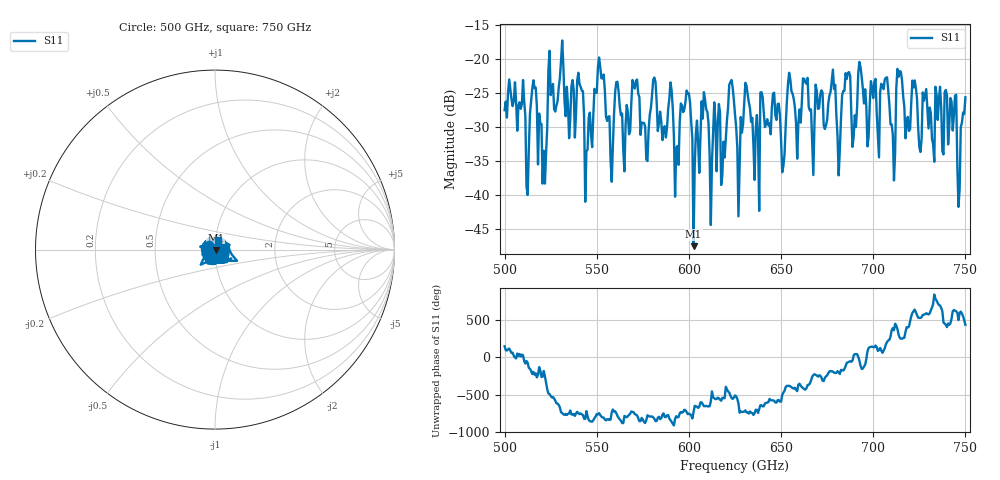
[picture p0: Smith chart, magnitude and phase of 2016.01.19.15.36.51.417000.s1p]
!Created with skrf (http://scikit-rf.org).
# GHz S RI R 50.0
!freq ReS11 ImS11
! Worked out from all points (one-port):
!   401 points, 500 GHz to 750 GHz, reference 50 ohm
!   lowest |S11| = -47.5 dB at 602.5 GHz (marker M1), VSWR 1.01, Z = 50.4 - j0.135 ohm
!   |S11| at or under -10 dB: start of sweep to end of sweep
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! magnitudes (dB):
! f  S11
! 500 GHz  -27.5
! 512.5 GHz  -40.0
! 516.2 GHz  -24.2
! 521.9 GHz  -38.3
! 525 GHz  -25.3
! 531.2 GHz  -17.2
! 541.2 GHz  -24.0
! 544.4 GHz  -33.5
! 551.9 GHz  -21.1
! 557.5 GHz  -34.9
! 562.5 GHz  -27.0
! 590 GHz  -23.4
! 593.8 GHz  -32.8
! 599.4 GHz  -25.0
! 602.5 GHz  -47.5
! 608.1 GHz  -24.8
! 611.9 GHz  -44.4
! 625 GHz  -28.1
! 651.2 GHz  -35.7
! 656.2 GHz  -25.1
! 687.5 GHz  -22.4
! 706.9 GHz  -22.7
! 710.6 GHz  -31.1
! 714.4 GHz  -21.7
! 718.8 GHz  -28.5
! 743.8 GHz  -28.3
! 746.9 GHz  -39.1
! 750 GHz  -25.6
